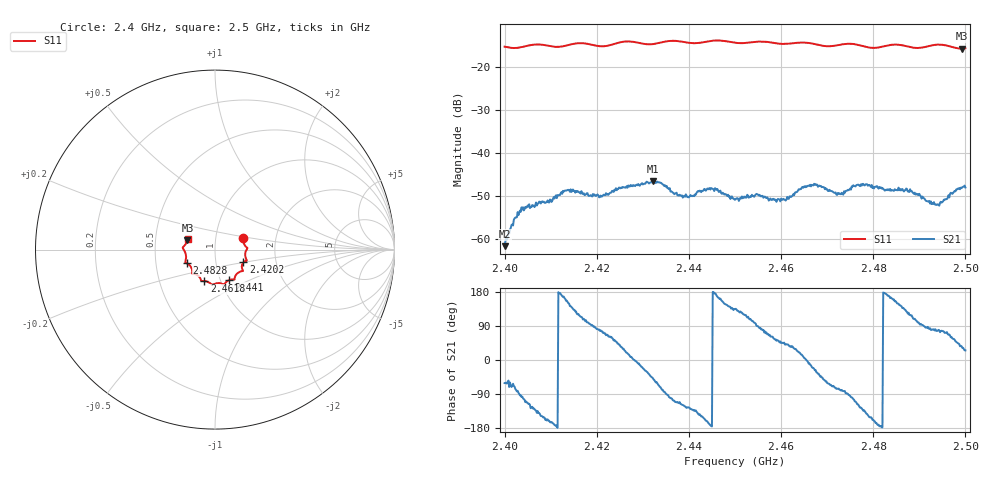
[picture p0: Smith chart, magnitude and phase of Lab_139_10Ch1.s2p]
# Hz S RI R 50
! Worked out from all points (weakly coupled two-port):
!   601 points, 2.4 GHz to 2.5 GHz, reference 50 ohm
!   highest |S21| = -46.66 dB at 2.4322 GHz (marker M1); lowest = -61.7 dB at 2.4 GHz (marker M2)
!   lowest |S11| = -15.8 dB at 2.4993 GHz (marker M3), VSWR 1.39, Z = 36.5 + j3.83 ohm
!   |S11| at or under -10 dB: start of sweep to end of sweep
!   S12 and S22 are empty: the file has one direction only
!   S11 on the Smith chart (normalised r, x): 2.4 GHz: 1.36, +0.18; 2.4202 GHz: 1.36, -0.20; 2.441 GHz: 1.10, -0.39; 2.4618 GHz: 0.84, -0.30; 2.4828 GHz: 0.72, -0.11; 2.5 GHz: 0.73, +0.09
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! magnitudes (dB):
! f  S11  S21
! 2.4 GHz  -15.4  -61.7
! 2.4025 GHz  -15.7  -55.0
! 2.4042 GHz  -15.3  -53.4
! 2.4132 GHz  -15.2  -48.8
! 2.4167 GHz  -14.5  -48.9
! 2.4202 GHz  -15.2  -49.7
! 2.4322 GHz  -14.8  -46.7
! 2.4333 GHz  -14.5  -46.9
! 2.4382 GHz  -14.1  -50.0
! 2.441 GHz  -14.6  -50.0
! 2.4448 GHz  -14.0  -48.2
! 2.45 GHz  -14.4  -50.9
! 2.4618 GHz  -14.6  -50.2
! 2.4667 GHz  -14.6  -47.5
! 2.4725 GHz  -15.0  -49.5
! 2.4782 GHz  -15.3  -47.6
! 2.4828 GHz  -15.1  -48.6
! 2.4833 GHz  -15.0  -48.6
! 2.4877 GHz  -15.4  -48.9
! 2.4938 GHz  -14.9  -52.0
! 2.4993 GHz  -15.8  -48.0
! 2.5 GHz  -15.7  -48.1
